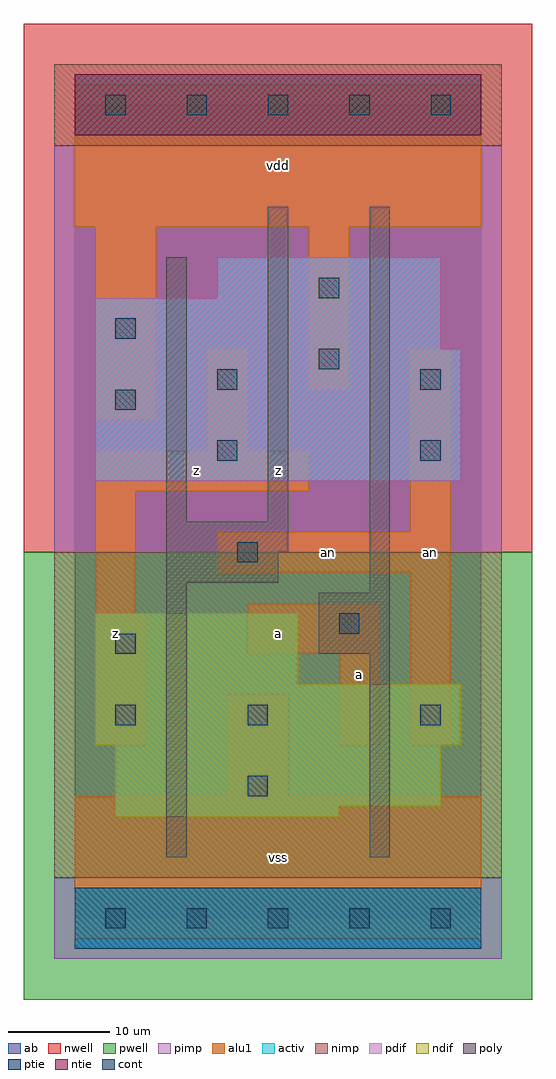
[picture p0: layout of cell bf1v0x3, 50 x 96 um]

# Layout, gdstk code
import gdstk
lib = gdstk.Library(unit=1e-6, precision=1e-09)
def R(c, l, rs):  # rectangles x0, y0, x1, y1
    for r in rs: c.add(gdstk.rectangle(r[:2], r[2:], *l))
def A(c, l, x, y, w, h, nx, ny, dx, dy):  # array of equal rectangles
    R(c, l, [(x+i*dx, y+j*dy, x+i*dx+w, y+j*dy+h) for i in range(nx) for j in range(ny)])
ndif = (3, 0)
pdif = (4, 0)
ntie = (5, 0)
ptie = (6, 0)
cont = (25, 0)
pwell = (41, 0)
nwell = (42, 0)
activ = (43, 0)
pimp = (44, 0)
nimp = (45, 0)
poly = (46, 0)
alu1 = (49, 0)
ab = (63, 0)

bf1v0x3 = lib.new_cell('bf1v0x3')
R(bf1v0x3, ndif, [(4,10,26,11), (4,11,36,17), (2,17,38,23), (2,23,22,30)])
R(bf1v0x3, pdif, [(2,43,38,56), (2,56,36,61), (14,61,36,65)])
R(bf1v0x3, ntie, [(0,77,40,83)])
R(bf1v0x3, ptie, [(0,-3,40,3)])
A(bf1v0x3, cont, 3, -1, 2, 2, 5, 2, 8, 80)
R(bf1v0x3, cont, [(17,12,19,14), (4,19,6,21), (17,19,19,21), (34,19,36,21), (4,26,6,28), (26,28,28,30), (16,35,18,37), (14,45,16,47), (34,45,36,47), (4,50,6,52), (14,52,16,54), (34,52,36,54), (24,54,26,56), (4,57,6,59), (24,61,26,63)])
R(bf1v0x3, pwell, [(-5,-8,45,36)])
R(bf1v0x3, nwell, [(-5,36,45,88)])
R(bf1v0x3, activ, [(0,-3,40,3), (4,10,26,11), (4,11,36,17), (2,17,38,23), (2,23,22,30), (2,43,38,56), (2,56,36,61), (14,61,36,65), (0,77,40,83)])
R(bf1v0x3, pimp, [(-2,-4,42,4), (-2,36,42,76)])
R(bf1v0x3, nimp, [(-2,4,42,36), (-2,76,42,84)])
R(bf1v0x3, poly, [(9,6,11,33), (29,6,31,26), (24,26,31,32), (29,32,31,70), (9,33,20,36), (9,36,21,39), (9,39,11,65), (19,39,21,70)])
R(bf1v0x3, alu1, [(0,-2,40,12), (15,12,21,22), (2,17,7,30), (26,17,30,26), (33,17,37,34), (17,26,30,31), (2,30,6,42), (14,34,37,38), (33,38,37,56), (2,42,23,46), (13,46,17,56), (2,49,8,68), (23,52,27,68), (0,68,40,82)])
R(bf1v0x3, ab, [(0,0,40,80)])
bf1v0x3.add(gdstk.Label('an', (25,36), layer=49, texttype=0))
bf1v0x3.add(gdstk.Label('an', (35,36), layer=49, texttype=0))
bf1v0x3.add(gdstk.Label('z', (4,28), layer=49, texttype=0))
bf1v0x3.add(gdstk.Label('z', (12,44), layer=49, texttype=0))
bf1v0x3.add(gdstk.Label('vss', (20,6), layer=49, texttype=0))
bf1v0x3.add(gdstk.Label('a', (20,28), layer=49, texttype=0))
bf1v0x3.add(gdstk.Label('a', (28,24), layer=49, texttype=0))
bf1v0x3.add(gdstk.Label('z', (20,44), layer=49, texttype=0))
bf1v0x3.add(gdstk.Label('vdd', (20,74), layer=49, texttype=0))

lib.write_gds('bf1v0x3.gds')
